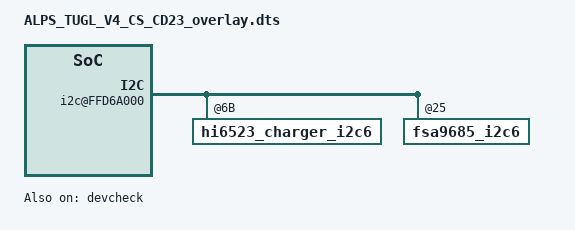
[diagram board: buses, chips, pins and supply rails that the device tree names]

/**
 * Copyright (C) 2014 Hisilicon Ltd.
 *
 *  This program is free software; you can redistribute it and/or modify
 *  it under the terms of the GNU General Public License version 2 as
 *  publishhed by the Free Software Foundation.
 */

/dts-v1/;
/plugin/;
/include/ "ALPS_TUGL_V3_CS_2LANE_overlay.dtsi"

/ {
	board_id = <6417>;
};

&rootparam {
        hisi,dtbo_idx = <86>;
    hisi,boardid = <6 4 1 7>;
    hisi,boardname = "ALPS_TUGL_V4_CS_CD23";
};

	&amba {
		i2c@FFD6A000 {
			hi6523_charger_i2c6@6B{
				status = "ok";
				fcp_support = <0>;
				scp_support = <0>;
				scp_need_extra_power = <0>;
			};
			fsa9685_i2c6@25{
				status = "ok";
			};
		};
	};
	&devcheck {
		usb_switch = <3>;
		status = "ok";
	};
	&hisi_usb {
		set_hi_impedance = <0x1>;
	};
